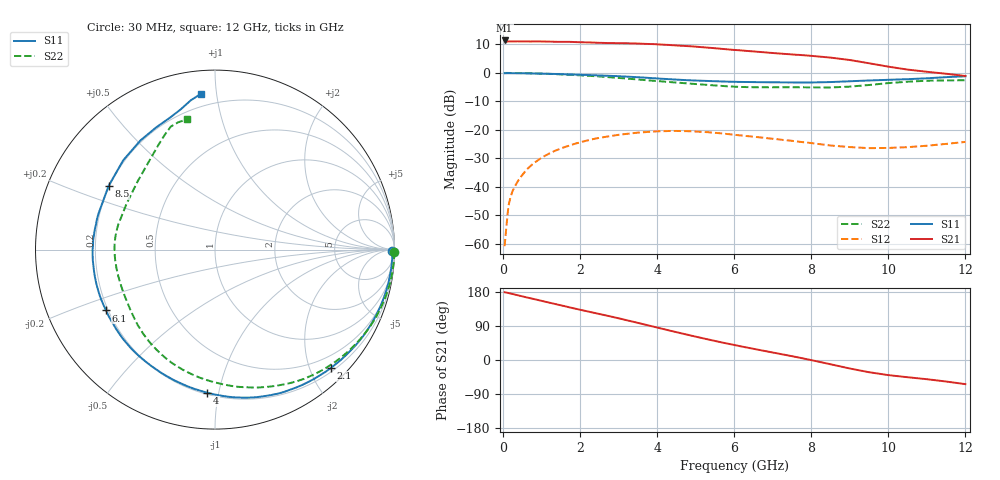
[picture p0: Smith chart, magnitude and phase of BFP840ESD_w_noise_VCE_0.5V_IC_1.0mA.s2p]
! Infineon Technologies  Discrete & RF Semiconductors
! BFP840ESD
! VCE =  0.5 V,  IC =  1.0 mA
! Common Emitter S-Parameters:  May 2012
# GHz  S  MA  R  50
!  f  S11  S21  S12  S22
! GHz  MAG  ANG  MAG  ANG  MAG  ANG  MAG  ANG
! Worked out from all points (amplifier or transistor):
!   93 points, 30 MHz to 12 GHz, reference 50 ohm
!   highest |S21| = 11.4 dB at 30 MHz (marker M1)
!   |S21| within 3 dB of that: start of sweep to 5.708 GHz
!   unconditionally stable (mu >= 1): 7.291 GHz to 11.82 GHz
!   at 1.1 GHz: K = 0.10, MSG = 20.0 dB, |S12| = -29.0 dB
!   at 4.2 GHz: K = 0.33, MSG = 15.2 dB, |S12| = -20.5 dB
!   at 12 GHz: K = 0.93, MSG = 11.6 dB, |S12| = -24.3 dB
!   lowest NFmin = 0.39 dB at 450 MHz
!   S11 on the Smith chart (normalised r, x): 30 MHz: open; 2.1 GHz: 0.26, -2.35; 4 GHz: 0.21, -0.93; 6.1 GHz: 0.19, -0.25; 8.5 GHz: 0.20, +0.27; 12 GHz: 0.13, +0.91
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0.03  0.987 -0.6  3.721 178.9  0.0009 105.2  0.9988 -0.7
0.08  0.9884 -1.7  3.545 177.8  0.0021 76.3  0.9993 -1.8
0.13  0.989 -2.8  3.586 176.8  0.0046 83.1  0.9987 -3.0
0.18  0.9879 -3.8  3.579 175.6  0.0064 86.0  0.9976 -4.1
0.5  0.9842 -10.6  3.584 167.7  0.0164 80.2  0.9917 -11.4
1.1  0.9672 -23.5  3.566 153.5  0.0355 66.8  0.9672 -25.2
1.7  0.9417 -36.7  3.519 139.3  0.0525 54.4  0.9286 -39.1
2.1  0.9228 -45.6  3.451 130.2  0.063 46.4  0.8986 -48.4
3.2  0.8607 -71.7  3.317 104.9  0.0848 24.7  0.7952 -75.0
4  0.799 -93.0  3.177 85.5  0.094 8.7  0.7188 -96.7
4.1  0.7907 -95.9  3.151 83.0  0.0944 6.7  0.7102 -99.4
4.7  0.75 -113.2  2.982 68.5  0.0949 -4.9  0.6604 -115.6
5.1  0.7299 -124.6  2.855 59.2  0.0924 -12.0  0.6301 -125.7
5.6  0.7105 -138.3  2.679 48.0  0.0873 -19.8  0.5953 -137.7
6.1  0.6952 -150.8  2.508 37.5  0.0803 -25.6  0.5692 -149.9
7.2  0.6825 -177.4  2.187 15.8  0.0672 -33.5  0.5593 -176.3
7.9  0.6793 165.4  2.021 1.7  0.0596 -35.9  0.5578 167.7
8.5  0.6908 149.1  1.857 -11.3  0.0529 -35.1  0.5552 152.4
9  0.7135 135.8  1.685 -22.5  0.0497 -32.3  0.5742 138.8
9.5  0.7367 124.3  1.477 -32.3  0.0476 -28.7  0.6135 126.9
10.5  0.7764 108.9  1.144 -45.5  0.0495 -20.5  0.7009 113.3
12  0.872 95.1  0.883 -63.7  0.0613 -16.6  0.7432 102.1
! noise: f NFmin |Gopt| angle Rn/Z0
0.45  0.39  0.82  4  0.56
0.9  0.4  0.84  10  0.53
1.5  0.52  0.84  22  0.46
1.9  0.58  0.83  25  0.41
2.4  0.64  0.74  35  0.38
3.5  0.77  0.64  61  0.31
5.5  1.05  0.52  116  0.21
8  1.41  0.6  -154  0.05
10  1.71  0.68  -119  0.18
12  2.06  0.64  -89  0.43
